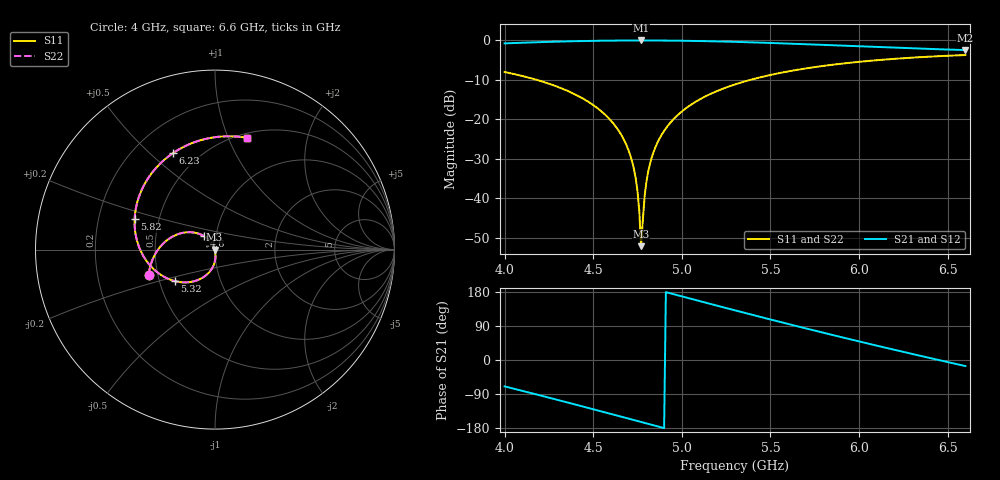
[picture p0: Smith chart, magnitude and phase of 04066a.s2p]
!freq-unit  param-type  data-format  keyword  impedance-ohms
# GHZ  S  RI  R  50
!Freq  ReS11  ImS11  ReS21  ImS21  ReS12  ImS12  ReS22  ImS22
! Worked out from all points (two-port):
!   261 points, 4 GHz to 6.6 GHz, reference 50 ohm
!   highest |S21| = -0.08 dB at 4.77 GHz (marker M1); lowest = -2.5 dB at 6.6 GHz (marker M2)
!   |S21| within 3 dB of the highest: start of sweep to end of sweep
!   lowest |S11| = -52.1 dB at 4.77 GHz (marker M3), VSWR 1.00, Z = 49.8 + j0.0126 ohm
!   |S11| at or under -10 dB: 4.177 GHz to 5.391 GHz (1.213 GHz wide, 25.4 % of centre)
!   |S22| runs from -52.1 to -3.8 dB; largest |S21 - S12| = 0
!   S11 on the Smith chart (normalised r, x): 4 GHz: 0.45, -0.15; 4.6 GHz: 0.88, +0.13; 5.32 GHz: 0.60, -0.23; 5.82 GHz: 0.36, +0.16; 6.23 GHz: 0.36, +0.59; 6.6 GHz: 0.55, +1.17
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4  -0.3694 -0.1392  0.3171 -0.8533  0.3171 -0.8533  -0.3694 -0.1392
4.23  -0.2891 0.0331  -0.1144 -0.9411  -0.1144 -0.9411  -0.2891 0.0331
4.44  -0.1557 0.0967  -0.5239 -0.8213  -0.5239 -0.8213  -0.1557 0.0967
4.6  -0.0603 0.0744  -0.7808 -0.6027  -0.7808 -0.6027  -0.0603 0.0744
4.68  -0.0258 0.0442  -0.876 -0.4601  -0.876 -0.4601  -0.0258 0.0442
4.73  -0.0106 0.0207  -0.9217 -0.3626  -0.9217 -0.3626  -0.0106 0.0207
4.75  -0.0061 0.0106  -0.9368 -0.3222  -0.9368 -0.3222  -0.0061 0.0106
4.76  -0.00417 0.00539  -0.9436 -0.3018  -0.9436 -0.3018  -0.00417 0.00539
4.77  -0.00247 0.000126  -0.95 -0.2812  -0.95 -0.2812  -0.00247 0.000126
4.79  0.000229 -0.0106  -0.9612 -0.2395  -0.9612 -0.2395  0.000229 -0.0106
4.8  0.00122 -0.016  -0.9661 -0.2185  -0.9661 -0.2185  0.00122 -0.016
4.83  0.00278 -0.0325  -0.9779 -0.155  -0.9779 -0.155  0.00278 -0.0325
4.87  0.00149 -0.0546  -0.9866 -0.0693  -0.9866 -0.0693  0.00149 -0.0546
5.03  -0.0408 -0.1349  -0.943 0.268  -0.943 0.268  -0.0408 -0.1349
5.3  -0.2092 -0.1787  -0.6239 0.718  -0.6239 0.718  -0.2092 -0.1787
5.32  -0.2238 -0.1755  -0.5912 0.7417  -0.5912 0.7417  -0.2238 -0.1755
5.53  -0.3651 -0.0843  -0.2115 0.8918  -0.2115 0.8918  -0.3651 -0.0843
5.74  -0.4433 0.0908  0.1727 0.8636  0.1727 0.8636  -0.4433 0.0908
5.82  -0.4477 0.1699  0.3041 0.8115  0.3041 0.8115  -0.4477 0.1699
6.17  -0.2863 0.4969  0.6981 0.405  0.6981 0.405  -0.2863 0.4969
6.23  -0.2328 0.5383  0.7313 0.3187  0.7313 0.3187  -0.2328 0.5383
6.6  0.1796 0.6224  0.7198 -0.2063  0.7198 -0.2063  0.1796 0.6224
